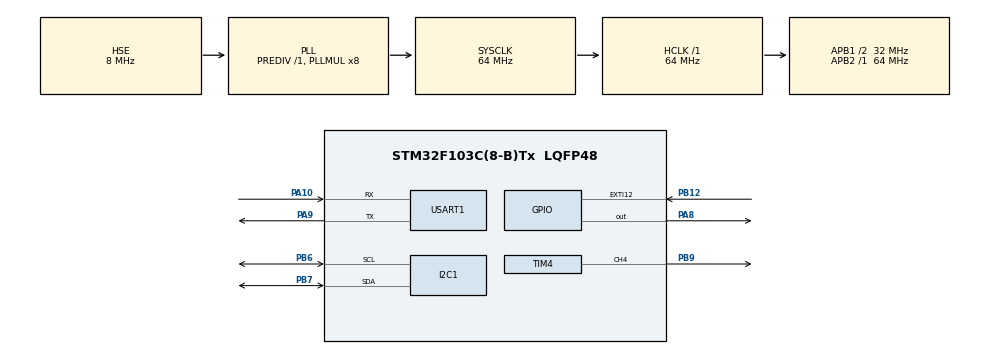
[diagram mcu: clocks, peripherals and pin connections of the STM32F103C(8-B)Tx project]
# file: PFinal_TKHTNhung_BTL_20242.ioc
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FREERTOS.BinarySemaphores01=Sem1_CMD,Dynamic,NULL,Depleted;Sem2_UART,Dynamic,NULL,Available;Sem_Task1,Dynamic,NULL,Depleted;Sem_Task2,Dynamic,NULL,Depleted
FREERTOS.Queues01=myQueue01,32,uint32_t,0,Dynamic,NULL,NULL
FREERTOS.Tasks01=Task1_MPU9250,24,256,S_Task1_MPU9250,Default,NULL,Dynamic,NULL,NULL;Task2_HCSR04,8,128,S_Task2_HCSR04,Default,NULL,Dynamic,NULL,NULL;Task3_UARTCMD,40,128,S_Task3_UARTCMD,Default,NULL,Dynamic,NULL,NULL;Task4_TimeContr,48,128,S_Task4_TimeControl,Default,NULL,Dynamic,NULL,NULL
FREERTOS.configTOTAL_HEAP_SIZE=4096
FREERTOS.configUSE_NEWLIB_REENTRANT=1
Mcu.Family=STM32F1
Mcu.Name=STM32F103C(8-B)Tx
Mcu.Package=LQFP48
NVIC.EXTI15_10_IRQn=true\:5\:0\:false\:false\:true\:true\:true\:true\:true
NVIC.PriorityGroup=NVIC_PRIORITYGROUP_4
NVIC.TIM1_UP_IRQn=true\:5\:0\:false\:false\:true\:true\:true\:true\:true
NVIC.TIM2_IRQn=true\:15\:0\:false\:false\:true\:false\:false\:true\:true
NVIC.TimeBase=TIM2_IRQn
NVIC.TimeBaseIP=TIM2
NVIC.USART1_IRQn=true\:6\:0\:true\:false\:true\:true\:true\:true\:true
PA10.Mode=Asynchronous
PA10.Signal=USART1_RX
PA13.Mode=Serial_Wire
PA13.Signal=SYS_JTMS-SWDIO
PA14.Mode=Serial_Wire
PA14.Signal=SYS_JTCK-SWCLK
PA8.Signal=GPIO_Output
PA9.Mode=Asynchronous
PA9.Signal=USART1_TX
PB12.GPIO_ModeDefaultEXTI=GPIO_MODE_IT_RISING_FALLING
PB12.GPIO_PuPd=GPIO_PULLUP
PB12.Signal=GPXTI12
PB6.Mode=I2C
PB6.Signal=I2C1_SCL
PB7.Mode=I2C
PB7.Signal=I2C1_SDA
PB9.Signal=S_TIM4_CH4
PD0-OSC_IN.Mode=HSE-External-Oscillator
PD0-OSC_IN.Signal=RCC_OSC_IN
PD1-OSC_OUT.Mode=HSE-External-Oscillator
PD1-OSC_OUT.Signal=RCC_OSC_OUT
ProjectManager.HeapSize=0x200
ProjectManager.StackSize=0x400
ProjectManager.TargetToolchain=STM32CubeIDE
RCC.AHBFreq_Value=64000000
RCC.APB1CLKDivider=RCC_HCLK_DIV2
RCC.APB1Freq_Value=32000000
RCC.APB1TimFreq_Value=64000000
RCC.APB2Freq_Value=64000000
RCC.APB2TimFreq_Value=64000000
RCC.HCLKFreq_Value=64000000
RCC.PLLMUL=RCC_PLL_MUL8
RCC.PLLSourceVirtual=RCC_PLLSOURCE_HSE
RCC.SYSCLKFreq_VALUE=64000000
RCC.SYSCLKSource=RCC_SYSCLKSOURCE_PLLCLK
RCC.USBFreq_Value=64000000
SH.S_TIM4_CH4.0=TIM4_CH4,PWM Generation4 CH4
TIM1.Prescaler=63
TIM4.Channel-PWM\ Generation4\ CH4=TIM_CHANNEL_4
TIM4.Period=19999
TIM4.Prescaler=63
USART1.VirtualMode=VM_ASYNC
VP_FREERTOS_VS_CMSIS_V2.Mode=CMSIS_V2
VP_SYS_VS_tim2.Mode=TIM2
VP_TIM1_VS_ClockSourceINT.Mode=Internal
VP_TIM4_VS_ClockSourceINT.Mode=Internal
board=custom

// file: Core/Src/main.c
/* USER CODE BEGIN Header */
/**
  ******************************************************************************
  * @file           : main.c
  * @brief          : Main program body
  ******************************************************************************
  * @attention
  *
  * Copyright (c) 2025 STMicroelectronics.
  * All rights reserved.
  *
  * This software is licensed under terms that can be found in the LICENSE file
  * in the root directory of this software component.
  * If no LICENSE file comes with this software, it is provided AS-IS.
  *
  ******************************************************************************
  */
/* USER CODE END Header */
#include "main.h"
#include "cmsis_os.h"

/* USER CODE BEGIN Includes */
#include "stdio.h"
#include "stdint.h"
#include "string.h"
#include "HCSR04.h"
#include "Servo.h"
#include "MPU9250.h"
#include <stdlib.h>
#include <ctype.h>
#include "stdbool.h"
/* USER CODE END Includes */

I2C_HandleTypeDef hi2c1;

TIM_HandleTypeDef htim1;
TIM_HandleTypeDef htim4;

UART_HandleTypeDef huart1;

/* Definitions for Task1_MPU9250 */
osThreadId_t Task1_MPU9250Handle;
const osThreadAttr_t Task1_MPU9250_attributes = {
  .name = "Task1_MPU9250",
  .stack_size = 256 * 4,
  .priority = (osPriority_t) osPriorityNormal,
};
/* Definitions for Task2_HCSR04 */
osThreadId_t Task2_HCSR04Handle;
const osThreadAttr_t Task2_HCSR04_attributes = {
  .name = "Task2_HCSR04",
  .stack_size = 128 * 4,
  .priority = (osPriority_t) osPriorityLow,
};
/* Definitions for Task3_UARTCMD */
osThreadId_t Task3_UARTCMDHandle;
const osThreadAttr_t Task3_UARTCMD_attributes = {
  .name = "Task3_UARTCMD",
  .stack_size = 128 * 4,
  .priority = (osPriority_t) osPriorityHigh,
};
/* Definitions for Task4_TimeContr */
osThreadId_t Task4_TimeContrHandle;
const osThreadAttr_t Task4_TimeContr_attributes = {
  .name = "Task4_TimeContr",
  .stack_size = 128 * 4,
  .priority = (osPriority_t) osPriorityRealtime,
};
/* Definitions for Sem1_CMD */
osSemaphoreId_t Sem1_CMDHandle;
const osSemaphoreAttr_t Sem1_CMD_attributes = {
  .name = "Sem1_CMD"
};
/* Definitions for Sem2_UART */
osSemaphoreId_t Sem2_UARTHandle;
const osSemaphoreAttr_t Sem2_UART_attributes = {
  .name = "Sem2_UART"
};
/* Definitions for Sem_Task1 */
osSemaphoreId_t Sem_Task1Handle;
const osSemaphoreAttr_t Sem_Task1_attributes = {
  .name = "Sem_Task1"
};
/* Definitions for Sem_Task2 */
osSemaphoreId_t Sem_Task2Handle;
const osSemaphoreAttr_t Sem_Task2_attributes = {
  .name = "Sem_Task2"
};

void SystemClock_Config(void);
static void MX_GPIO_Init(void);
static void MX_USART1_UART_Init(void);
static void MX_I2C1_Init(void);
static void MX_TIM1_Init(void);
static void MX_TIM4_Init(void);
void S_Task1_MPU9250(void *argument);
void S_Task2_HCSR04(void *argument);
void S_Task3_UARTCMD(void *argument);
void S_Task4_TimeControl(void *argument);

/* USER CODE BEGIN 0 */
int _write(int fd, char * ptr, int len) {
  HAL_UART_Transmit( & huart1, (uint8_t * ) ptr, len, HAL_MAX_DELAY);
  return len;
}

uint8_t data_rx;
char uart_buff[100];
uint8_t uart_index = 0;
uint8_t uart_flag = 0;

typedef enum {
    DATA_DISTANCE,
    DATA_MPU,
    DATA_UART_CMD
} DataType_t;

typedef struct {
    DataType_t type;
    float data1[6];
    float data2;
    uint32_t Time;
} UnifiedData_t;

void HAL_UART_RxCpltCallback(UART_HandleTypeDef *huart){

	if (data_rx == '\n'){
		uart_buff[uart_index] = '\0';
		uart_flag = 1;
	}else{
		uart_buff[uart_index++] = data_rx;
	}

	if (uart_flag == 1){
	  uart_flag = 0;
	  uart_index = 0;
	  osSemaphoreRelease(Sem1_CMDHandle);
	}
	HAL_UART_Receive_IT(&huart1, &data_rx, 1);
}
/* USER CODE END 0 */

int main(void)
{

  /* MCU Configuration--------------------------------------------------------*/

  /* Reset of all peripherals, Initializes the Flash interface and the Systick. */
  HAL_Init();

  /* Configure the system clock */
  SystemClock_Config();

  /* Initialize all configured peripherals */
  MX_GPIO_Init();
  MX_USART1_UART_Init();
  MX_I2C1_Init();
  MX_TIM1_Init();
  MX_TIM4_Init();
  /* USER CODE BEGIN 2 */
  HAL_UART_Receive_IT(&huart1, &data_rx, 1);
  HAL_TIM_PWM_Start(&htim4, TIM_CHANNEL_4);

  /* USER CODE END 2 */

  /* Init scheduler */
  osKernelInitialize();

  /* Create the semaphores(s) */
  /* creation of Sem1_CMD */
  Sem1_CMDHandle = osSemaphoreNew(1, 0, &Sem1_CMD_attributes);

  /* creation of Sem2_UART */
  Sem2_UARTHandle = osSemaphoreNew(1, 1, &Sem2_UART_attributes);

  /* creation of Sem_Task1 */
  Sem_Task1Handle = osSemaphoreNew(1, 0, &Sem_Task1_attributes);

  /* creation of Sem_Task2 */
  Sem_Task2Handle = osSemaphoreNew(1, 0, &Sem_Task2_attributes);

  /* Create the thread(s) */
  /* creation of Task1_MPU9250 */
  Task1_MPU9250Handle = osThreadNew(S_Task1_MPU9250, NULL, &Task1_MPU9250_attributes);

  /* creation of Task2_HCSR04 */
  Task2_HCSR04Handle = osThreadNew(S_Task2_HCSR04, NULL, &Task2_HCSR04_attributes);

  /* creation of Task3_UARTCMD */
  Task3_UARTCMDHandle = osThreadNew(S_Task3_UARTCMD, NULL, &Task3_UARTCMD_attributes);

  /* creation of Task4_TimeContr */
  Task4_TimeContrHandle = osThreadNew(S_Task4_TimeControl, NULL, &Task4_TimeContr_attributes);

  /* Start scheduler */
  osKernelStart();

  /* We should never get here as control is now taken by the scheduler */

  /* Infinite loop */
  while (1)
  {

  }
}

void SystemClock_Config(void)
{
  RCC_OscInitTypeDef RCC_OscInitStruct = {0};
  RCC_ClkInitTypeDef RCC_ClkInitStruct = {0};

  /** Initializes the RCC Oscillators according to the specified parameters
  * in the RCC_OscInitTypeDef structure.
  */
  RCC_OscInitStruct.OscillatorType = RCC_OSCILLATORTYPE_HSE;
  RCC_OscInitStruct.HSEState = RCC_HSE_ON;
  RCC_OscInitStruct.HSEPredivValue = RCC_HSE_PREDIV_DIV1;
  RCC_OscInitStruct.HSIState = RCC_HSI_ON;
  RCC_OscInitStruct.PLL.PLLState = RCC_PLL_ON;
  RCC_OscInitStruct.PLL.PLLSource = RCC_PLLSOURCE_HSE;
  RCC_OscInitStruct.PLL.PLLMUL = RCC_PLL_MUL8;
  if (HAL_RCC_OscConfig(&RCC_OscInitStruct) != HAL_OK)
  {
    Error_Handler();
  }

  /** Initializes the CPU, AHB and APB buses clocks
  */
  RCC_ClkInitStruct.ClockType = RCC_CLOCKTYPE_HCLK|RCC_CLOCKTYPE_SYSCLK
                              |RCC_CLOCKTYPE_PCLK1|RCC_CLOCKTYPE_PCLK2;
  RCC_ClkInitStruct.SYSCLKSource = RCC_SYSCLKSOURCE_PLLCLK;
  RCC_ClkInitStruct.AHBCLKDivider = RCC_SYSCLK_DIV1;
  RCC_ClkInitStruct.APB1CLKDivider = RCC_HCLK_DIV2;
  RCC_ClkInitStruct.APB2CLKDivider = RCC_HCLK_DIV1;

  if (HAL_RCC_ClockConfig(&RCC_ClkInitStruct, FLASH_LATENCY_2) != HAL_OK)
  {
    Error_Handler();
  }
}

static void MX_I2C1_Init(void)
{

  hi2c1.Instance = I2C1;
  hi2c1.Init.ClockSpeed = 100000;
  hi2c1.Init.DutyCycle = I2C_DUTYCYCLE_2;
  hi2c1.Init.OwnAddress1 = 0;
  hi2c1.Init.AddressingMode = I2C_ADDRESSINGMODE_7BIT;
  hi2c1.Init.DualAddressMode = I2C_DUALADDRESS_DISABLE;
  hi2c1.Init.OwnAddress2 = 0;
  hi2c1.Init.GeneralCallMode = I2C_GENERALCALL_DISABLE;
  hi2c1.Init.NoStretchMode = I2C_NOSTRETCH_DISABLE;
  if (HAL_I2C_Init(&hi2c1) != HAL_OK)
  {
    Error_Handler();
  }

}

static void MX_TIM1_Init(void)
{

  TIM_ClockConfigTypeDef sClockSourceConfig = {0};
  TIM_MasterConfigTypeDef sMasterConfig = {0};

  htim1.Instance = TIM1;
  htim1.Init.Prescaler = 63;
  htim1.Init.CounterMode = TIM_COUNTERMODE_UP;
  htim1.Init.Period = 65535;
  htim1.Init.ClockDivision = TIM_CLOCKDIVISION_DIV1;
  htim1.Init.RepetitionCounter = 0;
  htim1.Init.AutoReloadPreload = TIM_AUTORELOAD_PRELOAD_DISABLE;
  if (HAL_TIM_Base_Init(&htim1) != HAL_OK)
  {
    Error_Handler();
  }
  sClockSourceConfig.ClockSource = TIM_CLOCKSOURCE_INTERNAL;
  if (HAL_TIM_ConfigClockSource(&htim1, &sClockSourceConfig) != HAL_OK)
  {
    Error_Handler();
  }
  sMasterConfig.MasterOutputTrigger = TIM_TRGO_RESET;
  sMasterConfig.MasterSlaveMode = TIM_MASTERSLAVEMODE_DISABLE;
  if (HAL_TIMEx_MasterConfigSynchronization(&htim1, &sMasterConfig) != HAL_OK)
  {
    Error_Handler();
  }

}

static void MX_TIM4_Init(void)
{

  TIM_ClockConfigTypeDef sClockSourceConfig = {0};
  TIM_MasterConfigTypeDef sMasterConfig = {0};
  TIM_OC_InitTypeDef sConfigOC = {0};

  htim4.Instance = TIM4;
  htim4.Init.Prescaler = 63;
  htim4.Init.CounterMode = TIM_COUNTERMODE_UP;
  htim4.Init.Period = 19999;
  htim4.Init.ClockDivision = TIM_CLOCKDIVISION_DIV1;
  htim4.Init.AutoReloadPreload = TIM_AUTORELOAD_PRELOAD_DISABLE;
  if (HAL_TIM_Base_Init(&htim4) != HAL_OK)
  {
    Error_Handler();
  }
  sClockSourceConfig.ClockSource = TIM_CLOCKSOURCE_INTERNAL;
  if (HAL_TIM_ConfigClockSource(&htim4, &sClockSourceConfig) != HAL_OK)
  {
    Error_Handler();
  }
  if (HAL_TIM_PWM_Init(&htim4) != HAL_OK)
  {
    Error_Handler();
  }
  sMasterConfig.MasterOutputTrigger = TIM_TRGO_RESET;
  sMasterConfig.MasterSlaveMode = TIM_MASTERSLAVEMODE_DISABLE;
  if (HAL_TIMEx_MasterConfigSynchronization(&htim4, &sMasterConfig) != HAL_OK)
  {
    Error_Handler();
  }
  sConfigOC.OCMode = TIM_OCMODE_PWM1;
  sConfigOC.Pulse = 0;
  sConfigOC.OCPolarity = TIM_OCPOLARITY_HIGH;
  sConfigOC.OCFastMode = TIM_OCFAST_DISABLE;
  if (HAL_TIM_PWM_ConfigChannel(&htim4, &sConfigOC, TIM_CHANNEL_4) != HAL_OK)
  {
    Error_Handler();
  }
  HAL_TIM_MspPostInit(&htim4);

}

static void MX_USART1_UART_Init(void)
{

  huart1.Instance = USART1;
  huart1.Init.BaudRate = 115200;
  huart1.Init.WordLength = UART_WORDLENGTH_8B;
  huart1.Init.StopBits = UART_STOPBITS_1;
  huart1.Init.Parity = UART_PARITY_NONE;
  huart1.Init.Mode = UART_MODE_TX_RX;
  huart1.Init.HwFlowCtl = UART_HWCONTROL_NONE;
  huart1.Init.OverSampling = UART_OVERSAMPLING_16;
  if (HAL_UART_Init(&huart1) != HAL_OK)
  {
    Error_Handler();
  }

}

static void MX_GPIO_Init(void)
{
  GPIO_InitTypeDef GPIO_InitStruct = {0};

  /* GPIO Ports Clock Enable */
  __HAL_RCC_GPIOD_CLK_ENABLE();
  __HAL_RCC_GPIOB_CLK_ENABLE();
  __HAL_RCC_GPIOA_CLK_ENABLE();

  /*Configure GPIO pin Output Level */
  HAL_GPIO_WritePin(GPIOA, GPIO_PIN_8, GPIO_PIN_RESET);

  /*Configure GPIO pin : PB12 */
  GPIO_InitStruct.Pin = GPIO_PIN_12;
  GPIO_InitStruct.Mode = GPIO_MODE_IT_RISING_FALLING;
  GPIO_InitStruct.Pull = GPIO_PULLUP;
  HAL_GPIO_Init(GPIOB, &GPIO_InitStruct);

  /*Configure GPIO pin : PA8 */
  GPIO_InitStruct.Pin = GPIO_PIN_8;
  GPIO_InitStruct.Mode = GPIO_MODE_OUTPUT_PP;
  GPIO_InitStruct.Pull = GPIO_NOPULL;
  GPIO_InitStruct.Speed = GPIO_SPEED_FREQ_LOW;
  HAL_GPIO_Init(GPIOA, &GPIO_InitStruct);

  /* EXTI interrupt init*/
  HAL_NVIC_SetPriority(EXTI15_10_IRQn, 5, 0);
  HAL_NVIC_EnableIRQ(EXTI15_10_IRQn);

}

/* USER CODE BEGIN 4 */

typedef struct {
    osSemaphoreId_t sem;
    uint32_t exec_time_ms;
    uint32_t deadline_ms;
    bool ready;
} EDF_TaskControlBlock;

#define NUM_EDF_TASKS 2

EDF_TaskControlBlock edf_tasks[NUM_EDF_TASKS];

void EDF_Init(void) {
    edf_tasks[0].sem = &Sem_Task1Handle;
    edf_tasks[0].exec_time_ms = 12;
    edf_tasks[0].deadline_ms = osKernelGetTickCount() + 1000;
    edf_tasks[0].ready = false;

    edf_tasks[1].sem = &Sem_Task2Handle;
    edf_tasks[1].exec_time_ms = 15;
    edf_tasks[1].deadline_ms = osKernelGetTickCount() + 1500;
    edf_tasks[1].ready = false;
}

/* USER CODE END 4 */

void S_Task1_MPU9250(void *argument)
{
  /* USER CODE BEGIN 5 */
	UnifiedData_t pData;
  /* Infinite loop */
  for(;;)
  {
	UnifiedData_t pData;

	pData.Time = HAL_GetTick();
	pData.type = DATA_MPU;

	MPU9250_Getdata();

	pData.data[0] = ax;
	pData.data[1] = ay;
	pData.data[2] = az;
	pData.data[3] = gx;
	pData.data[4] = gy;
	pData.data[5] = gz;

	osMessageQueuePut(qMsgQueueHandle, &pData, 2, 100);
	osSemaphoreRelease(Sem1_CMDHandle);
  }
  /* USER CODE END 5 */
}

void S_Task2_HCSR04(void *argument)
{
  /* USER CODE BEGIN S_Task2_HCSR04 */
  /* Infinite loop */
  for(;;)
  {
	osSemaphoreAcquire(Sem_Task2Handle, osWaitForever);
	osSemaphoreAcquire(Sem2_UARTHandle, osWaitForever);

	printf("\nTask 2 in: %lu\n", HAL_GetTick());

	osSemaphoreRelease(Sem2_UARTHandle);

    HCSR04_Start();
  }
  /* USER CODE END S_Task2_HCSR04 */
}

void S_Task3_UARTCMD(void *argument)
{
  /* USER CODE BEGIN S_Task3_UARTCMD */
    int servo_angle = 0;
  /* Infinite loop */
  for(;;)
  {
	  osSemaphoreAcquire(Sem1_CMDHandle, osWaitForever);

	  if (strncmp(uart_buff, ">Servo", 6) == 0) {
	         char *ptr = uart_buff + 6;
	         while (*ptr == ' ') ptr++;
	         servo_angle = atoi(ptr);
	         osSemaphoreAcquire(Sem2_UARTHandle, osWaitForever);
	         printf("Control Servo angel: %d\n", servo_angle);
	         osSemaphoreRelease(Sem2_UARTHandle);
	         Servo_Write(&htim4, TIM_CHANNEL_4, servo_angle);
	     } else if(strncmp(uart_buff, ">T1", 3) == 0){
	         char *ptr = uart_buff + 3;
	         while (*ptr == ' ') ptr++;
	         edf_tasks[0].deadline_ms = edf_tasks[0].deadline_ms + atoi(ptr);
	         osSemaphoreAcquire(Sem2_UARTHandle, osWaitForever);
	         printf("Change Deadline Task 1 to: %lu\n", edf_tasks[0].deadline_ms);
	         osSemaphoreRelease(Sem2_UARTHandle);
	     }else if(strncmp(uart_buff, ">T2", 3) == 0){
	         char *ptr = uart_buff + 3;
	         while (*ptr == ' ') ptr++;
	         edf_tasks[1].deadline_ms = atoi(ptr);
	         osSemaphoreAcquire(Sem2_UARTHandle, osWaitForever);
	         printf("Change Deadline Task 2 to: %lu\n", edf_tasks[1].deadline_ms);
	         osSemaphoreRelease(Sem2_UARTHandle);
	     }else {
	    	 osSemaphoreAcquire(Sem2_UARTHandle, osWaitForever);
	         printf("Wrong message!\n");
	         osSemaphoreRelease(Sem2_UARTHandle);
	     }

  }
  /* USER CODE END S_Task3_UARTCMD */
}

uint32_t now;
void S_Task4_TimeControl(void *argument)
{
  /* USER CODE BEGIN S_Task4_TimeControl */
	uint32_t next_wake_time = osKernelGetTickCount();
	EDF_Init();
  /* Infinite loop */
  for(;;)
  {
	now = osKernelGetTickCount();
	int min_idx = -1;
	uint32_t min_deadline = 0xFFFFFFFF;

	for (int i = 0; i < NUM_EDF_TASKS; i++) {
		if (edf_tasks[i].deadline_ms <= now) {
			if (edf_tasks[i].deadline_ms < min_deadline) {
				min_deadline = edf_tasks[i].deadline_ms;
				min_idx = i;
			}
		}
	}

	if (min_idx >= 0) {
        switch (min_idx) {
			case 0:
				osSemaphoreRelease(Sem_Task1Handle);
				break;
			case 1:
				osSemaphoreRelease(Sem_Task2Handle);
				break;
			default:
				break;
		}
		edf_tasks[min_idx].deadline_ms = now + (min_idx == 0 ? 1000 : 1500);
	}

	next_wake_time += 100;
	osDelayUntil(next_wake_time);
  }
  /* USER CODE END S_Task4_TimeControl */
}

void HAL_TIM_PeriodElapsedCallback(TIM_HandleTypeDef *htim)
{
  if (htim->Instance == TIM2) {
    HAL_IncTick();
  }
}

void Error_Handler(void)
{
  __disable_irq();
  while (1)
  {
  }
}
